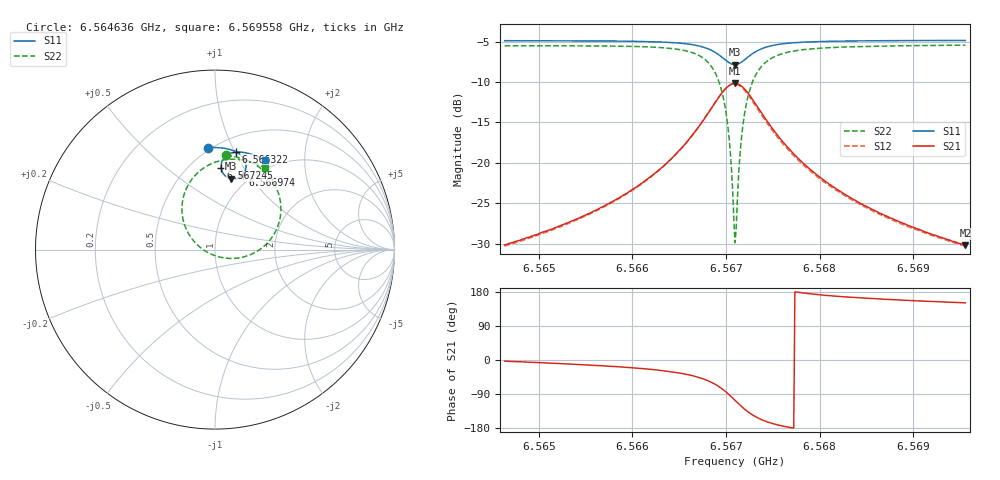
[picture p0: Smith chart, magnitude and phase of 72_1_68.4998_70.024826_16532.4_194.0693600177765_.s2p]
#  HZ  S  RI  R  50.00
! Rohde & Schwarz Vector Network Analyzer
! Rohde-Schwarz,ZNB20-2Port,1311601062101988,3.16
! Created: UTC 3/20/2024, 4:51:47 PM
! freq[Hz]  re:S11  im:S11  re:S21  im:S21  re:S12  im:S12  re:S22  im:S22
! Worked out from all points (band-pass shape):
!   401 points, 6.564636 GHz to 6.569558 GHz, reference 50 ohm
!   highest |S21| = -10.17 dB at 6.567097 GHz (marker M1); lowest = -30.2 dB at 6.569558 GHz (marker M2)
!   |S21| within 3 dB of the highest: 6.56685 GHz to 6.567343 GHz (492.8 kHz wide, 0.0075 % of centre)
!   lowest |S11| = -7.9 dB at 6.567097 GHz (marker M3), VSWR 2.36, Z = 42.3 + j40 ohm
!   |S11| at or under -10 dB: nowhere
!   |S22| runs from -29.9 to -5.4 dB; largest |S21 - S12| = 0.016
!   S11 on the Smith chart (normalised r, x): 6.564636 GHz: 0.48, +0.81; 6.566322 GHz: 0.64, +1.01; 6.566974 GHz: 0.90, +0.93; 6.567245 GHz: 0.70, +0.80; 6.569558 GHz: 0.88, +1.30
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6.564636e9  -0.0401 0.5679  0.031 -0.00167  0.0304 -0.00216  0.0629 0.5254
6.5654604e9  0.0289 0.5673  0.0454 -0.00981  0.0445 -0.0104  0.1459 0.5083
6.5662848e9  0.11 0.5483  0.0805 -0.0409  0.0793 -0.0418  0.2668 0.4428
6.5663217e9  0.1142 0.5464  0.0832 -0.0442  0.082 -0.0453  0.2741 0.4363
6.5665924e9  0.1482 0.5225  0.1069 -0.085  0.1051 -0.0868  0.3359 0.3559
6.566777e9  0.1698 0.4865  0.1179 -0.1487  0.1149 -0.1519  0.3673 0.2333
6.5668878e9  0.1714 0.4493  0.1019 -0.2138  0.096 -0.2181  0.341 0.1089
6.5669739e9  0.1533 0.4149  0.0533 -0.2725  0.0425 -0.2758  0.2494 0.000313
6.5670354e9  0.1245 0.3966  -0.0103 -0.3007  -0.024 -0.3  0.1314 -0.0467
6.5670846e9  0.095 0.3938  -0.0721 -0.3009  -0.0862 -0.2953  0.02 -0.0399
6.5670969e9  0.0874 0.3952  -0.0877 -0.2973  -0.1015 -0.2903  -0.00702 -0.0312
6.5671092e9  0.0801 0.3973  -0.1026 -0.292  -0.1159 -0.2837  -0.0332 -0.0198
6.5671215e9  0.0731 0.4003  -0.117 -0.2852  -0.1296 -0.2758  -0.0576 -0.00579
6.5671462e9  0.0603 0.4083  -0.1429 -0.268  -0.1536 -0.2568  -0.1006 0.0284
6.5671708e9  0.0498 0.4184  -0.1641 -0.2471  -0.1728 -0.2346  -0.1347 0.0686
6.5672077e9  0.0392 0.436  -0.1868 -0.2121  -0.1921 -0.1985  -0.1683 0.1335
6.5672446e9  0.0343 0.454  -0.1986 -0.1765  -0.2011 -0.1635  -0.1826 0.1972
6.567343e9  0.0405 0.494  -0.1955 -0.0991  -0.1933 -0.0895  -0.1634 0.3314
6.5674907e9  0.068 0.5262  -0.1604 -0.0365  -0.1568 -0.031  -0.0874 0.436
6.5679213e9  0.1359 0.5437  -0.0884 0.00913  -0.0863 0.0105  0.0698 0.5024
6.5687458e9  0.2171 0.5262  -0.0429 0.016  -0.0421 0.0162  0.2024 0.4881
6.5695579e9  0.2791 0.4982  -0.0269 0.0151  -0.0263 0.0153  0.2792 0.4555
